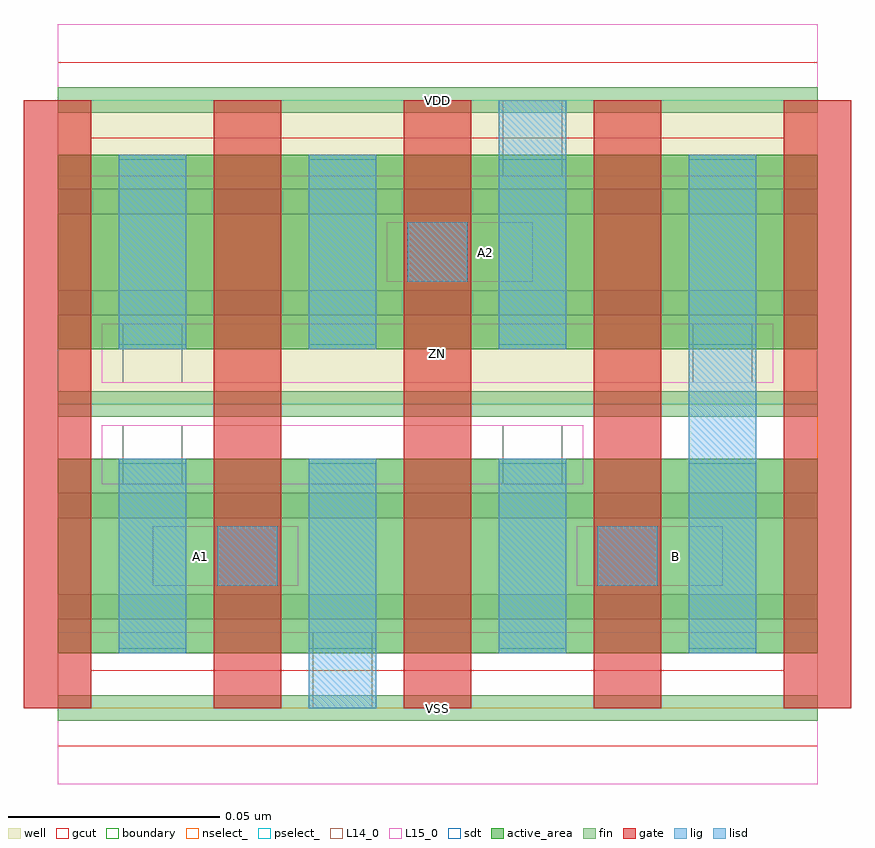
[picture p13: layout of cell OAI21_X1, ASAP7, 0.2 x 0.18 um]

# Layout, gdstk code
import gdstk
lib = gdstk.Library(unit=1e-6, precision=2.5e-10)
def R(c, l, rs):  # rectangles x0, y0, x1, y1
    for r in rs: c.add(gdstk.rectangle(r[:2], r[2:], *l))
def A(c, l, x, y, w, h, nx, ny, dx, dy):  # array of equal rectangles
    R(c, l, [(x+i*dx, y+j*dy, x+i*dx+w, y+j*dy+h) for i in range(nx) for j in range(ny)])
def P(c, l, *ps):  # polygons
    for p in ps: c.add(gdstk.Polygon(p, *l))
well = (1, 0)
fin = (2, 0)
gate = (7, 0)
gcut = (10, 0)
active_area = (11, 0)
nselect_ = (12, 0)
pselect_ = (13, 0)
L14_0 = (14, 0)
L15_0 = (15, 0)
lig = (16, 0)
lisd = (17, 0)
sdt = (88, 0)
boundary = (100, 0)

oai21_x1 = lib.new_cell('OAI21_X1')
R(oai21_x1, well, [(0,0.072,0.18,0.144)])
A(oai21_x1, fin, 0, -0.003, 0.18, 0.006, 1, 7, 0, 0.024)
A(oai21_x1, gate, -0.008, 0, 0.016, 0.144, 5, 1, 0.045, 0)
P(oai21_x1, gcut, [(0,-0.009),(0,0),(-0.008,0),(-0.008,0.135),(0.008,0.135),(0.008,0.009),(0.172,0.009),(0.172,0.135),(-0.008,0.135),(-0.008,0.144),(0,0.144),(0,0.153),(0.18,0.153),(0.18,0.144),(0.188,0.144),(0.188,0),(0.18,0),(0.18,-0.009)])
R(oai21_x1, active_area, [(0,0.013,0.18,0.059), (0,0.085,0.18,0.131)])
R(oai21_x1, nselect_, [(0,0,0.18,0.072)])
R(oai21_x1, pselect_, [(0,0.072,0.18,0.144)])
R(oai21_x1, L14_0, [(0.0605,0,0.0745,0.018), (0.038,0.029,0.052,0.043), (0.128,0.029,0.142,0.043), (0.0155,0.053,0.0295,0.067), (0.1055,0.053,0.1195,0.067), (0.0155,0.077,0.0295,0.091), (0.1505,0.077,0.1645,0.091), (0.083,0.101,0.097,0.115), (0.1055,0.126,0.1195,0.144)])
R(oai21_x1, L15_0, [(0,-0.018,0.18,0.018), (0.0225,0.029,0.057,0.043), (0.123,0.029,0.1575,0.043), (0.0105,0.053,0.1245,0.067), (0.0105,0.077,0.1695,0.091), (0.078,0.101,0.1125,0.115), (0,0.126,0.18,0.162)])
R(oai21_x1, lig, [(0.038,0.029,0.052,0.043), (0.128,0.029,0.142,0.043), (0.083,0.101,0.097,0.115)])
R(oai21_x1, lisd, [(0.0595,0,0.0755,0.059), (0.0145,0.013,0.0305,0.059), (0.1045,0.013,0.1205,0.059), (0.1495,0.013,0.1655,0.131), (0.0145,0.085,0.0305,0.131), (0.0595,0.085,0.0755,0.131), (0.1045,0.085,0.1205,0.144)])
A(oai21_x1, sdt, 0.0145, 0.014, 0.016, 0.044, 4, 2, 0.045, 0.072)
R(oai21_x1, boundary, [(0,0,0.18,0.144)])
oai21_x1.add(gdstk.Label('ZN', (0.09,0.084), layer=15, texttype=251))
oai21_x1.add(gdstk.Label('VSS', (0.09,0), layer=15, texttype=251))
oai21_x1.add(gdstk.Label('VDD', (0.09,0.144), layer=15, texttype=251))
oai21_x1.add(gdstk.Label('A1', (0.0338,0.036), layer=15, texttype=251))
oai21_x1.add(gdstk.Label('VSS', (0.09,0), layer=15, texttype=251))
oai21_x1.add(gdstk.Label('VDD', (0.09,0.144), layer=15, texttype=251))
oai21_x1.add(gdstk.Label('B', (0.1463,0.036), layer=15, texttype=251))
oai21_x1.add(gdstk.Label('VSS', (0.09,0), layer=15, texttype=251))
oai21_x1.add(gdstk.Label('VDD', (0.09,0.144), layer=15, texttype=251))
oai21_x1.add(gdstk.Label('A2', (0.1013,0.108), layer=15, texttype=251))
oai21_x1.add(gdstk.Label('VSS', (0.09,0), layer=15, texttype=251))
oai21_x1.add(gdstk.Label('VDD', (0.09,0.144), layer=15, texttype=251))
oai21_x1.add(gdstk.Label('VSS', (0.09,0), layer=3, texttype=251))
oai21_x1.add(gdstk.Label('VSS', (0.09,0), layer=3, texttype=251))
oai21_x1.add(gdstk.Label('VSS', (0.09,0), layer=3, texttype=251))
oai21_x1.add(gdstk.Label('VSS', (0.09,0), layer=3, texttype=251))
oai21_x1.add(gdstk.Label('VDD', (0.09,0.144), layer=1, texttype=251))
oai21_x1.add(gdstk.Label('VDD', (0.09,0.144), layer=1, texttype=251))
oai21_x1.add(gdstk.Label('VDD', (0.09,0.144), layer=1, texttype=251))
oai21_x1.add(gdstk.Label('VDD', (0.09,0.144), layer=1, texttype=251))

lib.write_gds('OAI21_X1.gds')
